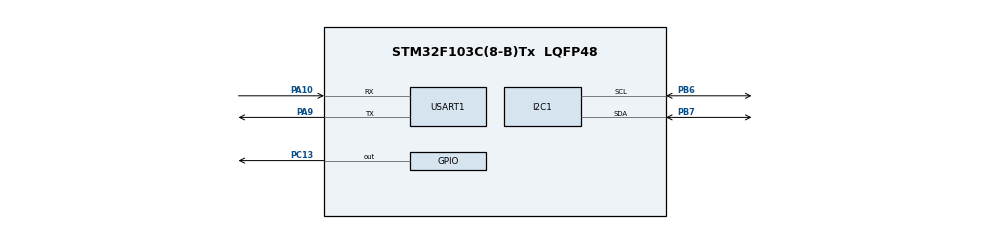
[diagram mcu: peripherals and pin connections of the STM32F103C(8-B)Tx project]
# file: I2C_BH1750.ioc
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Mcu.Family=STM32F1
Mcu.Name=STM32F103C(8-B)Tx
Mcu.Package=LQFP48
NVIC.I2C1_ER_IRQn=true\:0\:0\:false\:false\:true\:true\:true\:true
NVIC.I2C1_EV_IRQn=true\:0\:0\:false\:false\:true\:true\:true\:true
NVIC.PriorityGroup=NVIC_PRIORITYGROUP_4
NVIC.USART1_IRQn=true\:0\:0\:false\:false\:true\:true\:true\:true
PA10.Mode=Asynchronous
PA10.Signal=USART1_RX
PA13.Mode=Serial_Wire
PA13.Signal=SYS_JTMS-SWDIO
PA14.Mode=Serial_Wire
PA14.Signal=SYS_JTCK-SWCLK
PA9.Mode=Asynchronous
PA9.Signal=USART1_TX
PB6.Mode=I2C
PB6.Signal=I2C1_SCL
PB7.Mode=I2C
PB7.Signal=I2C1_SDA
PC13-TAMPER-RTC.PinState=GPIO_PIN_RESET
PC13-TAMPER-RTC.Signal=GPIO_Output
ProjectManager.HeapSize=0x200
ProjectManager.StackSize=0x400
ProjectManager.TargetToolchain=STM32CubeIDE
RCC.APB1Freq_Value=8000000
RCC.APB2Freq_Value=8000000
USART1.VirtualMode=VM_ASYNC
board=custom

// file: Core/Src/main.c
/* USER CODE BEGIN Header */
/**
  ******************************************************************************
  * @file           : main.c
  * @brief          : Main program body
  ******************************************************************************
  * @attention
  *
  * Copyright (c) 2025 STMicroelectronics.
  * All rights reserved.
  *
  * This software is licensed under terms that can be found in the LICENSE file
  * in the root directory of this software component.
  * If no LICENSE file comes with this software, it is provided AS-IS.
  *
  ******************************************************************************
  */
/* USER CODE END Header */
#include "main.h"

/* USER CODE BEGIN Includes */
#include <stdio.h>
/* USER CODE END Includes */

/* USER CODE BEGIN PD */
#define BH1750_ADDR 0x23 << 1 // Địa chỉ I2C của BH1750 (dịch trái 1 bit)
// Các lệnh (commands) của BH1750
#define BH1750_POWER_DOWN 0x00
#define BH1750_POWER_ON 0x01
#define BH1750_RESET 0x07
#define BH1750_CONTINUOUS_HIGH_RES_MODE 0x10 // Chế độ đo liên tục, độ phân giải cao
/* USER CODE END PD */

I2C_HandleTypeDef hi2c1;

UART_HandleTypeDef huart1;

/* USER CODE BEGIN PV */
char receive[100]={0};
/* USER CODE END PV */

void SystemClock_Config(void);
static void MX_GPIO_Init(void);
static void MX_I2C1_Init(void);
static void MX_USART1_UART_Init(void);

/* USER CODE BEGIN 0 */
HAL_StatusTypeDef BH1750_Init(I2C_HandleTypeDef *hi2c) {
    uint8_t cmd = BH1750_POWER_ON;
    HAL_StatusTypeDef ret;

    ret = HAL_I2C_Master_Transmit(hi2c, BH1750_ADDR, &cmd, 1, HAL_MAX_DELAY);
    if (ret != HAL_OK) {
        return ret;
    }

    cmd = BH1750_CONTINUOUS_HIGH_RES_MODE;
    ret = HAL_I2C_Master_Transmit(hi2c, BH1750_ADDR, &cmd, 1, HAL_MAX_DELAY);
	return ret;
}

HAL_StatusTypeDef BH1750_ReadLux(I2C_HandleTypeDef *hi2c, float *lux) {
    uint8_t data[2];
    HAL_StatusTypeDef ret;

    ret = HAL_I2C_Master_Receive(hi2c, BH1750_ADDR, data, 2, HAL_MAX_DELAY);
    if (ret != HAL_OK) {
        return ret;
    }

    uint16_t raw_value = (data[0] << 8) | data[1];
    *lux = (float)raw_value / 1.2; // Công thức chuyển đổi từ giá trị thô sang lux

    return HAL_OK;
}
/* USER CODE END 0 */

int main(void)
{

  /* MCU Configuration--------------------------------------------------------*/

  /* Reset of all peripherals, Initializes the Flash interface and the Systick. */
  HAL_Init();

  /* Configure the system clock */
  SystemClock_Config();

  /* Initialize all configured peripherals */
  MX_GPIO_Init();
  MX_I2C1_Init();
  MX_USART1_UART_Init();
  /* USER CODE BEGIN 2 */
  if (BH1750_Init(&hi2c1) != HAL_OK) {
     // Xử lý lỗi khởi tạo (ví dụ: in ra lỗi qua UART)
       printf("BH1750 init failed!\r\n");
        Error_Handler(); // Hàm xử lý lỗi của CubeMX
        while (1);
          }
  float lux_value;

  /* USER CODE END 2 */

  /* Infinite loop */
  /* USER CODE BEGIN WHILE */
  while (1)
  {
	  if (BH1750_ReadLux(&hi2c1, &lux_value) == HAL_OK) {
		        // In giá trị lux ra UART (nếu đã cấu hình UART)
		        printf("Lux: %.2f\r\n", lux_value);

		      } else
		      {
		          printf("BH1750 read failed!\r\n");
		      }
		      HAL_Delay(1000); // Đọc giá trị mỗi 1 giây
	  	  sprintf(receive,"value light sensor %.2f\n",lux_value);

	  HAL_UART_Transmit(&huart1, receive,100, 1000);
    /* USER CODE END WHILE */

  }
}

void SystemClock_Config(void)
{
  RCC_OscInitTypeDef RCC_OscInitStruct = {0};
  RCC_ClkInitTypeDef RCC_ClkInitStruct = {0};

  /** Initializes the RCC Oscillators according to the specified parameters
  * in the RCC_OscInitTypeDef structure.
  */
  RCC_OscInitStruct.OscillatorType = RCC_OSCILLATORTYPE_HSI;
  RCC_OscInitStruct.HSIState = RCC_HSI_ON;
  RCC_OscInitStruct.HSICalibrationValue = RCC_HSICALIBRATION_DEFAULT;
  RCC_OscInitStruct.PLL.PLLState = RCC_PLL_NONE;
  if (HAL_RCC_OscConfig(&RCC_OscInitStruct) != HAL_OK)
  {
    Error_Handler();
  }

  /** Initializes the CPU, AHB and APB buses clocks
  */
  RCC_ClkInitStruct.ClockType = RCC_CLOCKTYPE_HCLK|RCC_CLOCKTYPE_SYSCLK
                              |RCC_CLOCKTYPE_PCLK1|RCC_CLOCKTYPE_PCLK2;
  RCC_ClkInitStruct.SYSCLKSource = RCC_SYSCLKSOURCE_HSI;
  RCC_ClkInitStruct.AHBCLKDivider = RCC_SYSCLK_DIV1;
  RCC_ClkInitStruct.APB1CLKDivider = RCC_HCLK_DIV1;
  RCC_ClkInitStruct.APB2CLKDivider = RCC_HCLK_DIV1;

  if (HAL_RCC_ClockConfig(&RCC_ClkInitStruct, FLASH_LATENCY_0) != HAL_OK)
  {
    Error_Handler();
  }
}

static void MX_I2C1_Init(void)
{

  hi2c1.Instance = I2C1;
  hi2c1.Init.ClockSpeed = 100000;
  hi2c1.Init.DutyCycle = I2C_DUTYCYCLE_2;
  hi2c1.Init.OwnAddress1 = 0;
  hi2c1.Init.AddressingMode = I2C_ADDRESSINGMODE_7BIT;
  hi2c1.Init.DualAddressMode = I2C_DUALADDRESS_DISABLE;
  hi2c1.Init.OwnAddress2 = 0;
  hi2c1.Init.GeneralCallMode = I2C_GENERALCALL_DISABLE;
  hi2c1.Init.NoStretchMode = I2C_NOSTRETCH_DISABLE;
  if (HAL_I2C_Init(&hi2c1) != HAL_OK)
  {
    Error_Handler();
  }

}

static void MX_USART1_UART_Init(void)
{

  huart1.Instance = USART1;
  huart1.Init.BaudRate = 115200;
  huart1.Init.WordLength = UART_WORDLENGTH_8B;
  huart1.Init.StopBits = UART_STOPBITS_1;
  huart1.Init.Parity = UART_PARITY_NONE;
  huart1.Init.Mode = UART_MODE_TX_RX;
  huart1.Init.HwFlowCtl = UART_HWCONTROL_NONE;
  huart1.Init.OverSampling = UART_OVERSAMPLING_16;
  if (HAL_UART_Init(&huart1) != HAL_OK)
  {
    Error_Handler();
  }

}

static void MX_GPIO_Init(void)
{
  GPIO_InitTypeDef GPIO_InitStruct = {0};

  /* GPIO Ports Clock Enable */
  __HAL_RCC_GPIOC_CLK_ENABLE();
  __HAL_RCC_GPIOA_CLK_ENABLE();
  __HAL_RCC_GPIOB_CLK_ENABLE();

  /*Configure GPIO pin Output Level */
  HAL_GPIO_WritePin(GPIOC, GPIO_PIN_13, GPIO_PIN_RESET);

  /*Configure GPIO pin : PC13 */
  GPIO_InitStruct.Pin = GPIO_PIN_13;
  GPIO_InitStruct.Mode = GPIO_MODE_OUTPUT_PP;
  GPIO_InitStruct.Pull = GPIO_NOPULL;
  GPIO_InitStruct.Speed = GPIO_SPEED_FREQ_LOW;
  HAL_GPIO_Init(GPIOC, &GPIO_InitStruct);

}

void Error_Handler(void)
{
  __disable_irq();
  while (1)
  {
  }
}
